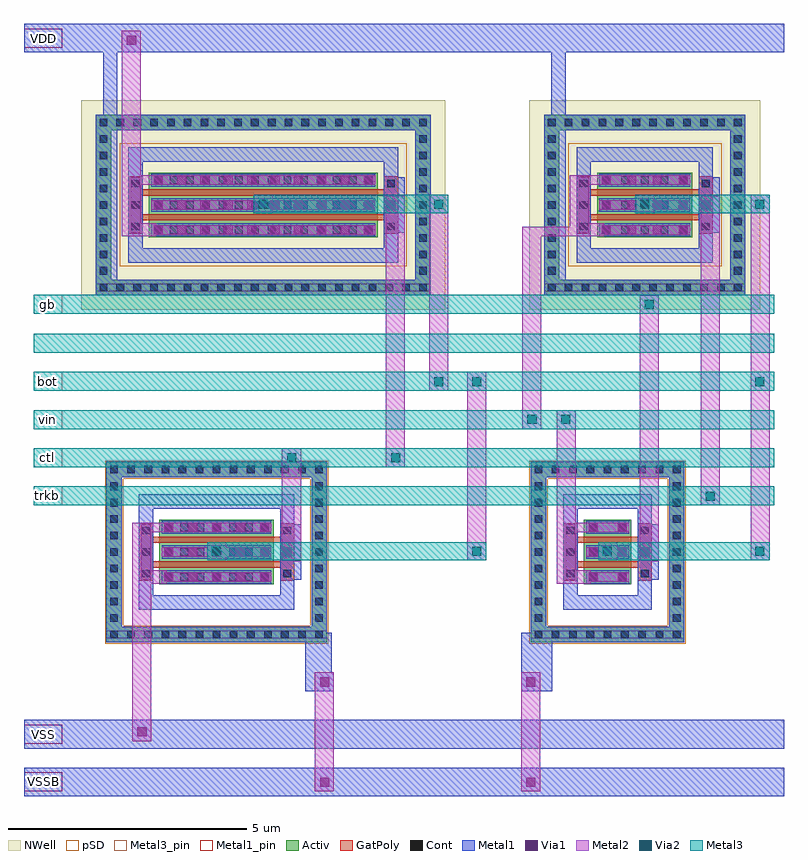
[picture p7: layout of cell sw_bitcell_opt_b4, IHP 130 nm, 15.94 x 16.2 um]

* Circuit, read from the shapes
.subckt sw_bitcell_opt_b4 VDD VSS VSSB bot ctl gb trkb vin
XM1 bot ctl VSS VSSB sg13_lv_nmos w=2.4u l=0.13u m=2
XM2 bot gb vin VSSB sg13_lv_nmos w=1u l=0.13u m=2
XM3 bot ctl VDD VDD sg13_lv_pmos w=4.8u l=0.13u m=2
XM4 bot trkb vin VDD sg13_lv_pmos w=2u l=0.13u m=2
.ends

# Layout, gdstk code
import gdstk
lib = gdstk.Library(unit=1e-6, precision=1e-09)
def R(c, l, rs):  # rectangles x0, y0, x1, y1
    for r in rs: c.add(gdstk.rectangle(r[:2], r[2:], *l))
def A(c, l, x, y, w, h, nx, ny, dx, dy):  # array of equal rectangles
    R(c, l, [(x+i*dx, y+j*dy, x+i*dx+w, y+j*dy+h) for i in range(nx) for j in range(ny)])
def P(c, l, *ps):  # polygons
    for p in ps: c.add(gdstk.Polygon(p, *l))
Activ = (1, 0)
GatPoly = (5, 0)
Cont = (6, 0)
Metal1 = (8, 0)
Metal1_pin = (8, 2)
Metal2 = (10, 0)
pSD = (14, 0)
Via1 = (19, 0)
Via2 = (29, 0)
Metal3 = (30, 0)
Metal3_pin = (30, 2)
NWell = (31, 0)

rfnmos_10 = lib.new_cell('rfnmos$10')
R(rfnmos_10, Activ, [(1.14,1.245,3.54,2.595)])
P(rfnmos_10, Activ, [(0.03,0.03),(0.03,3.49),(0.35,3.49),(0.35,0.35),(4.33,0.35),(4.33,3.49),(0.03,3.49),(0.03,3.81),(4.65,3.81),(4.65,0.03)])
R(rfnmos_10, GatPoly, [(0.71,1.32,1.01,2.52), (3.67,1.32,3.97,2.52), (1.01,1.595,3.67,1.725), (1.01,2.115,3.67,2.245)])
A(rfnmos_10, Cont, 0.465, 0.11, 0.16, 0.16, 3, 2, 0.36, 3.46)
A(rfnmos_10, Cont, 1.54, 0.11, 0.16, 0.16, 3, 2, 0.36, 3.46)
A(rfnmos_10, Cont, 2.615, 0.11, 0.16, 0.16, 3, 2, 0.36, 3.46)
A(rfnmos_10, Cont, 3.69, 0.11, 0.16, 0.16, 3, 2, 0.36, 3.46)
A(rfnmos_10, Cont, 0.11, 0.46, 0.16, 0.16, 1, 9, 0, 0.345)
A(rfnmos_10, Cont, 4.41, 0.46, 0.16, 0.16, 1, 9, 0, 0.345)
A(rfnmos_10, Cont, 1.24, 1.32, 0.16, 0.16, 7, 3, 0.34, 0.52)
A(rfnmos_10, Cont, 0.78, 1.39, 0.16, 0.16, 1, 3, 0, 0.45)
A(rfnmos_10, Cont, 3.74, 1.39, 0.16, 0.16, 1, 3, 0, 0.45)
R(rfnmos_10, Cont, [(0.11,0.11,0.27,0.27), (0.11,3.57,0.27,3.73)])
A(rfnmos_10, Metal1, 1.19, 1.26, 2.3, 0.28, 1, 3, 0, 0.52)
R(rfnmos_10, Metal1, [(0.03,0.03,4.65,0.35), (0.03,0.35,0.35,3.49), (4.33,0.35,4.65,3.49), (0.76,1.34,0.96,2.5), (3.72,1.34,3.92,2.5), (0.03,3.49,4.65,3.81)])
P(rfnmos_10, Metal1, [(0.71,0.71),(0.71,2.83),(1.01,2.83),(1.01,1.01),(3.67,1.01),(3.67,2.83),(0.71,2.83),(0.71,3.13),(3.97,3.13),(3.97,0.71)])
R(rfnmos_10, Metal1_pin, [(0.03,0.11,4.65,0.27), (0.03,0.11,4.65,0.27), (1.19,1.26,3.49,1.54), (1.19,1.26,3.49,1.54), (0.76,1.34,0.96,2.5), (0.76,1.34,0.96,2.5), (1.19,1.78,3.49,2.06), (1.19,1.78,3.49,2.06)])
A(rfnmos_10, Metal2, 1.19, 1.3, 2.3, 0.2, 1, 3, 0, 0.52)
P(rfnmos_10, pSD, [(0,0),(0,3.46),(0.38,3.46),(0.38,0.38),(4.3,0.38),(4.3,3.46),(0,3.46),(0,3.84),(4.68,3.84),(4.68,0)])
A(rfnmos_10, Via1, 1.24, 1.305, 0.19, 0.19, 1, 3, 0, 0.52)
A(rfnmos_10, Via1, 1.74, 1.305, 0.19, 0.19, 1, 3, 0, 0.52)
A(rfnmos_10, Via1, 2.245, 1.305, 0.19, 0.19, 1, 3, 0, 0.52)
A(rfnmos_10, Via1, 2.745, 1.305, 0.19, 0.19, 1, 3, 0, 0.52)
A(rfnmos_10, Via1, 3.25, 1.305, 0.19, 0.19, 1, 3, 0, 0.52)
rfnmos_10.add(gdstk.Label('S', (2.34,1.42), layer=63, texttype=0))
rfnmos_10.add(gdstk.Label('D', (2.34,1.94), layer=63, texttype=0))
rfnmos_10.add(gdstk.Label('G', (0.86,1.92), layer=63, texttype=0))
rfnmos_10.add(gdstk.Label('TIE', (2.34,0.19), layer=63, texttype=0))
rfnmos_10.add(gdstk.Label('rfnmos', (2.34,3.65), layer=63, texttype=0))

rfpmos_9 = lib.new_cell('rfpmos$9')
R(rfpmos_9, Activ, [(1.42,1.525,6.22,2.875)])
P(rfpmos_9, Activ, [(0.31,0.31),(0.31,3.77),(0.63,3.77),(0.63,0.63),(7.01,0.63),(7.01,3.77),(0.31,3.77),(0.31,4.09),(7.33,4.09),(7.33,0.31)])
R(rfpmos_9, GatPoly, [(0.99,1.6,1.29,2.8), (6.35,1.6,6.65,2.8), (1.29,1.875,6.35,2.005), (1.29,2.395,6.35,2.525)])
A(rfpmos_9, Cont, 6.38, 0.39, 0.16, 0.16, 3, 2, 0.355, 3.46)
A(rfpmos_9, Cont, 0.39, 0.74, 0.16, 0.16, 1, 9, 0, 0.345)
A(rfpmos_9, Cont, 7.09, 0.74, 0.16, 0.16, 1, 9, 0, 0.345)
A(rfpmos_9, Cont, 1.52, 1.6, 0.16, 0.16, 4, 3, 0.34, 0.52)
A(rfpmos_9, Cont, 2.885, 1.6, 0.16, 0.16, 3, 3, 0.34, 0.52)
A(rfpmos_9, Cont, 3.91, 1.6, 0.16, 0.16, 3, 3, 0.34, 0.52)
A(rfpmos_9, Cont, 4.935, 1.6, 0.16, 0.16, 3, 3, 0.34, 0.52)
A(rfpmos_9, Cont, 5.96, 1.6, 0.16, 0.16, 1, 3, 0, 0.52)
A(rfpmos_9, Cont, 1.06, 1.67, 0.16, 0.16, 1, 3, 0, 0.45)
A(rfpmos_9, Cont, 6.42, 1.67, 0.16, 0.16, 1, 3, 0, 0.45)
R(rfpmos_9, Cont, [(0.39,0.39,0.55,0.55), (0.74,0.39,0.9,0.55), (1.095,0.39,1.255,0.55), (1.445,0.39,1.605,0.55), (1.8,0.39,1.96,0.55), (2.15,0.39,2.31,0.55), (2.505,0.39,2.665,0.55), (2.855,0.39,3.015,0.55), (3.21,0.39,3.37,0.55), (3.56,0.39,3.72,0.55), (3.915,0.39,4.075,0.55), (4.265,0.39,4.425,0.55), (4.62,0.39,4.78,0.55), (4.97,0.39,5.13,0.55), (5.325,0.39,5.485,0.55), (5.675,0.39,5.835,0.55), (6.03,0.39,6.19,0.55), (0.39,3.85,0.55,4.01), (0.74,3.85,0.9,4.01), (1.095,3.85,1.255,4.01), (1.445,3.85,1.605,4.01), (1.8,3.85,1.96,4.01), (2.15,3.85,2.31,4.01), (2.505,3.85,2.665,4.01), (2.855,3.85,3.015,4.01), (3.21,3.85,3.37,4.01), (3.56,3.85,3.72,4.01), (3.915,3.85,4.075,4.01), (4.265,3.85,4.425,4.01), (4.62,3.85,4.78,4.01), (4.97,3.85,5.13,4.01), (5.325,3.85,5.485,4.01), (5.675,3.85,5.835,4.01), (6.03,3.85,6.19,4.01)])
A(rfpmos_9, Metal1, 1.47, 1.54, 4.7, 0.28, 1, 3, 0, 0.52)
R(rfpmos_9, Metal1, [(0.31,0.31,7.33,0.63), (0.31,0.63,0.63,3.77), (7.01,0.63,7.33,3.77), (1.04,1.62,1.24,2.78), (6.4,1.62,6.6,2.78), (0.31,3.77,7.33,4.09)])
P(rfpmos_9, Metal1, [(0.99,0.99),(0.99,3.11),(1.29,3.11),(1.29,1.29),(6.35,1.29),(6.35,3.11),(0.99,3.11),(0.99,3.41),(6.65,3.41),(6.65,0.99)])
R(rfpmos_9, Metal1_pin, [(0.31,0.39,7.33,0.55), (0.31,0.39,7.33,0.55), (1.47,1.54,6.17,1.82), (1.47,1.54,6.17,1.82), (1.04,1.62,1.24,2.78), (1.04,1.62,1.24,2.78), (1.47,2.06,6.17,2.34), (1.47,2.06,6.17,2.34)])
A(rfpmos_9, Metal2, 1.47, 1.58, 4.7, 0.2, 1, 3, 0, 0.52)
R(rfpmos_9, pSD, [(0.81,0.91,6.83,3.49)])
A(rfpmos_9, Via1, 1.52, 1.585, 0.19, 0.19, 10, 3, 0.49, 0.52)
R(rfpmos_9, NWell, [(0,0,7.64,4.4)])
rfpmos_9.add(gdstk.Label('S', (3.82,1.7), layer=63, texttype=0))
rfpmos_9.add(gdstk.Label('D', (3.82,2.22), layer=63, texttype=0))
rfpmos_9.add(gdstk.Label('G', (1.14,2.2), layer=63, texttype=0))
rfpmos_9.add(gdstk.Label('TIE', (3.82,0.47), layer=63, texttype=0))
rfpmos_9.add(gdstk.Label('rfpmos', (3.82,3.93), layer=63, texttype=0))

rfnmos_1_6 = lib.new_cell('rfnmos$1$6')
R(rfnmos_1_6, Activ, [(1.14,1.245,2.14,2.595)])
P(rfnmos_1_6, Activ, [(0.03,0.03),(0.03,3.49),(0.35,3.49),(0.35,0.35),(2.93,0.35),(2.93,3.49),(0.03,3.49),(0.03,3.81),(3.25,3.81),(3.25,0.03)])
R(rfnmos_1_6, GatPoly, [(0.71,1.32,1.01,2.52), (2.27,1.32,2.57,2.52), (1.01,1.595,2.27,1.725), (1.01,2.115,2.27,2.245)])
A(rfnmos_1_6, Cont, 0.11, 0.46, 0.16, 0.16, 1, 9, 0, 0.345)
A(rfnmos_1_6, Cont, 3.01, 0.46, 0.16, 0.16, 1, 9, 0, 0.345)
A(rfnmos_1_6, Cont, 1.24, 1.32, 0.16, 0.16, 1, 3, 0, 0.52)
A(rfnmos_1_6, Cont, 1.88, 1.32, 0.16, 0.16, 1, 3, 0, 0.52)
A(rfnmos_1_6, Cont, 0.78, 1.39, 0.16, 0.16, 1, 3, 0, 0.45)
A(rfnmos_1_6, Cont, 2.34, 1.39, 0.16, 0.16, 1, 3, 0, 0.45)
R(rfnmos_1_6, Cont, [(0.11,0.11,0.27,0.27), (0.47,0.11,0.63,0.27), (0.835,0.11,0.995,0.27), (1.195,0.11,1.355,0.27), (1.56,0.11,1.72,0.27), (1.92,0.11,2.08,0.27), (2.285,0.11,2.445,0.27), (2.645,0.11,2.805,0.27), (3.01,0.11,3.17,0.27), (0.11,3.57,0.27,3.73), (0.47,3.57,0.63,3.73), (0.835,3.57,0.995,3.73), (1.195,3.57,1.355,3.73), (1.56,3.57,1.72,3.73), (1.92,3.57,2.08,3.73), (2.285,3.57,2.445,3.73), (2.645,3.57,2.805,3.73), (3.01,3.57,3.17,3.73)])
A(rfnmos_1_6, Metal1, 1.19, 1.26, 0.9, 0.28, 1, 3, 0, 0.52)
R(rfnmos_1_6, Metal1, [(0.03,0.03,3.25,0.35), (0.03,0.35,0.35,3.49), (2.93,0.35,3.25,3.49), (0.76,1.34,0.96,2.5), (2.32,1.34,2.52,2.5), (0.03,3.49,3.25,3.81)])
P(rfnmos_1_6, Metal1, [(0.71,0.71),(0.71,2.83),(1.01,2.83),(1.01,1.01),(2.27,1.01),(2.27,2.83),(0.71,2.83),(0.71,3.13),(2.57,3.13),(2.57,0.71)])
R(rfnmos_1_6, Metal1_pin, [(0.03,0.11,3.25,0.27), (0.03,0.11,3.25,0.27), (1.19,1.26,2.09,1.54), (1.19,1.26,2.09,1.54), (0.76,1.34,0.96,2.5), (0.76,1.34,0.96,2.5), (1.19,1.78,2.09,2.06), (1.19,1.78,2.09,2.06)])
A(rfnmos_1_6, Metal2, 1.19, 1.3, 0.9, 0.2, 1, 3, 0, 0.52)
P(rfnmos_1_6, pSD, [(0,0),(0,3.46),(0.38,3.46),(0.38,0.38),(2.9,0.38),(2.9,3.46),(0,3.46),(0,3.84),(3.28,3.84),(3.28,0)])
A(rfnmos_1_6, Via1, 1.24, 1.305, 0.19, 0.19, 1, 3, 0, 0.52)
A(rfnmos_1_6, Via1, 1.85, 1.305, 0.19, 0.19, 1, 3, 0, 0.52)
rfnmos_1_6.add(gdstk.Label('S', (1.64,1.42), layer=63, texttype=0))
rfnmos_1_6.add(gdstk.Label('D', (1.64,1.94), layer=63, texttype=0))
rfnmos_1_6.add(gdstk.Label('G', (0.86,1.92), layer=63, texttype=0))
rfnmos_1_6.add(gdstk.Label('TIE', (1.64,0.19), layer=63, texttype=0))
rfnmos_1_6.add(gdstk.Label('rfnmos', (1.64,3.65), layer=63, texttype=0))

rfpmos_1_6 = lib.new_cell('rfpmos$1$6')
R(rfpmos_1_6, Activ, [(1.42,1.525,3.42,2.875)])
P(rfpmos_1_6, Activ, [(0.31,0.31),(0.31,3.77),(0.63,3.77),(0.63,0.63),(4.21,0.63),(4.21,3.77),(0.31,3.77),(0.31,4.09),(4.53,4.09),(4.53,0.31)])
R(rfpmos_1_6, GatPoly, [(0.99,1.6,1.29,2.8), (3.55,1.6,3.85,2.8), (1.29,1.875,3.55,2.005), (1.29,2.395,3.55,2.525)])
A(rfpmos_1_6, Cont, 0.74, 0.39, 0.16, 0.16, 11, 2, 0.355, 3.46)
A(rfpmos_1_6, Cont, 0.39, 0.74, 0.16, 0.16, 1, 9, 0, 0.345)
A(rfpmos_1_6, Cont, 4.29, 0.74, 0.16, 0.16, 1, 9, 0, 0.345)
A(rfpmos_1_6, Cont, 1.52, 1.6, 0.16, 0.16, 5, 3, 0.41, 0.52)
A(rfpmos_1_6, Cont, 1.06, 1.67, 0.16, 0.16, 1, 3, 0, 0.45)
A(rfpmos_1_6, Cont, 3.62, 1.67, 0.16, 0.16, 1, 3, 0, 0.45)
R(rfpmos_1_6, Cont, [(0.39,0.39,0.55,0.55), (0.39,3.85,0.55,4.01)])
A(rfpmos_1_6, Metal1, 1.47, 1.54, 1.9, 0.28, 1, 3, 0, 0.52)
R(rfpmos_1_6, Metal1, [(0.31,0.31,4.53,0.63), (0.31,0.63,0.63,3.77), (4.21,0.63,4.53,3.77), (1.04,1.62,1.24,2.78), (3.6,1.62,3.8,2.78), (0.31,3.77,4.53,4.09)])
P(rfpmos_1_6, Metal1, [(0.99,0.99),(0.99,3.11),(1.29,3.11),(1.29,1.29),(3.55,1.29),(3.55,3.11),(0.99,3.11),(0.99,3.41),(3.85,3.41),(3.85,0.99)])
R(rfpmos_1_6, Metal1_pin, [(0.31,0.39,4.53,0.55), (0.31,0.39,4.53,0.55), (1.47,1.54,3.37,1.82), (1.47,1.54,3.37,1.82), (1.04,1.62,1.24,2.78), (1.04,1.62,1.24,2.78), (1.47,2.06,3.37,2.34), (1.47,2.06,3.37,2.34)])
A(rfpmos_1_6, Metal2, 1.47, 1.58, 1.9, 0.2, 1, 3, 0, 0.52)
R(rfpmos_1_6, pSD, [(0.81,0.91,4.03,3.49)])
A(rfpmos_1_6, Via1, 1.52, 1.585, 0.19, 0.19, 3, 3, 0.535, 0.52)
A(rfpmos_1_6, Via1, 3.13, 1.585, 0.19, 0.19, 1, 3, 0, 0.52)
R(rfpmos_1_6, NWell, [(0,0,4.84,4.4)])
rfpmos_1_6.add(gdstk.Label('S', (2.42,1.7), layer=63, texttype=0))
rfpmos_1_6.add(gdstk.Label('D', (2.42,2.22), layer=63, texttype=0))
rfpmos_1_6.add(gdstk.Label('G', (1.14,2.2), layer=63, texttype=0))
rfpmos_1_6.add(gdstk.Label('TIE', (2.42,0.47), layer=63, texttype=0))
rfpmos_1_6.add(gdstk.Label('rfpmos', (2.42,3.93), layer=63, texttype=0))

sw_bitcell_opt_b4 = lib.new_cell('sw_bitcell_opt_b4')
R(sw_bitcell_opt_b4, Metal1, [(-1.2,-3.2,14.74,-2.6), (4.9,-3.1,5.3,-2.7), (9.23,-3.1,9.63,-2.7), (-1.2,-2.2,14.74,-1.6), (1.07,-2.05,1.47,-1.65), (4.7,-1,5.25,0.23), (4.9,-1,5.3,-0.6), (9.23,-1,9.63,-0.6), (9.23,-1,9.88,0.23), (4.21,1.34,4.61,2.5), (11.71,1.34,12.11,2.5), (0.46,7.44,0.76,12.4), (9.86,7.44,10.16,12.4), (6.39,8.62,6.79,9.78), (12.99,8.62,13.39,9.78), (-1.2,12.4,14.74,13), (0.85,12.45,1.25,12.85)])
R(sw_bitcell_opt_b4, Metal1_pin, [(-1.2,-3.1,-0.4,-2.7), (-1.2,-2.1,-0.4,-1.7), (-1.2,12.5,-0.4,12.9)])
R(sw_bitcell_opt_b4, Metal2, [(4.9,-3.1,5.3,-2.7), (9.23,-3.1,9.63,-2.7), (4.9,-2.9,5.3,-0.8), (9.23,-2.9,9.63,-0.8), (1.07,-2.05,1.47,-1.65), (1.07,-1.9,1.47,1.46), (4.9,-1,5.3,-0.6), (9.23,-1,9.63,-0.6), (1.07,1.26,1.79,1.54), (1.07,1.26,1.47,2.54), (9.97,1.26,10.69,1.54), (9.97,1.26,10.37,2.54), (4.21,1.73,4.61,2.11), (11.71,1.73,12.11,2.11), (2.64,1.75,3.04,2.13), (8.1,1.75,8.5,2.13), (10.84,1.75,11.24,2.13), (14.04,1.75,14.44,2.13), (4.21,1.92,4.61,3.9), (11.71,1.92,12.11,7.12), (8.1,1.94,8.5,5.5), (14.04,1.94,14.44,5.5), (1.07,2.34,1.79,2.54), (9.97,2.34,10.69,2.54), (9.97,2.4,10.37,4.9), (12.99,2.9,13.39,3.3), (12.99,3.1,13.39,9.2), (4.21,3.7,4.61,4.1), (6.39,3.7,6.79,4.1), (6.39,3.9,6.79,9.2), (9.25,4.5,9.65,4.9), (9.25,4.5,9.65,8.74), (9.97,4.5,10.37,4.9), (7.3,5.3,7.7,5.7), (8.1,5.3,8.5,5.7), (14.04,5.3,14.44,5.7), (14.04,5.3,14.44,5.7), (7.3,5.5,7.7,9.22), (14.04,5.5,14.44,9.22), (11.71,6.93,12.11,7.31), (0.85,8.54,1.57,8.82), (0.85,8.54,1.25,9.82), (9.25,8.54,10.65,8.74), (10.25,8.54,10.97,8.82), (10.25,8.54,10.65,9.82), (6.39,9.01,6.79,9.39), (12.99,9.01,13.39,9.39), (3.62,9.03,4.02,9.41), (7.3,9.03,7.7,9.41), (11.62,9.03,12.02,9.41), (14.04,9.03,14.44,9.41), (0.85,9.62,1.57,9.82), (0.85,9.62,1.25,12.7), (10.25,9.62,10.97,9.82), (0.85,12.45,1.25,12.85)])
R(sw_bitcell_opt_b4, Via1, [(5.01,-3,5.2,-2.81), (9.33,-3,9.52,-2.81), (1.18,-1.94,1.37,-1.75), (5.01,-0.9,5.2,-0.71), (9.33,-0.9,9.52,-0.71), (4.23,1.82,4.42,2.01), (11.72,1.82,11.91,2.01), (6.4,9.1,6.59,9.29), (13,9.1,13.19,9.29), (0.96,12.56,1.15,12.75)])
R(sw_bitcell_opt_b4, Via2, [(2.74,1.84,2.93,2.03), (8.2,1.84,8.39,2.03), (10.94,1.84,11.13,2.03), (14.14,1.84,14.33,2.03), (13.1,3,13.29,3.19), (4.32,3.8,4.51,3.99), (6.5,3.8,6.69,3.99), (9.36,4.61,9.55,4.8), (10.07,4.61,10.26,4.8), (7.4,5.4,7.59,5.59), (8.2,5.4,8.39,5.59), (14.14,5.4,14.33,5.59), (14.14,5.4,14.33,5.59), (11.82,7.02,12.01,7.21), (3.72,9.12,3.91,9.31), (7.4,9.12,7.59,9.31), (11.72,9.12,11.91,9.31), (14.14,9.12,14.33,9.31)])
A(sw_bitcell_opt_b4, Metal3, -1, 2.9, 15.54, 0.4, 1, 5, 0, 0.8)
R(sw_bitcell_opt_b4, Metal3, [(2.64,1.75,8.5,2.13), (2.64,1.75,3.04,2.13), (8.1,1.75,8.5,2.13), (10.84,1.75,11.24,2.13), (10.84,1.75,14.44,2.13), (14.04,1.75,14.44,2.13), (12.99,2.9,13.39,3.3), (4.21,3.7,4.61,4.1), (6.39,3.7,6.79,4.1), (9.25,4.5,9.65,4.9), (9.97,4.5,10.37,4.9), (7.3,5.3,7.7,5.7), (8.1,5.3,8.5,5.7), (14.04,5.3,14.44,5.7), (14.04,5.3,14.44,5.7), (-1,6.92,14.54,7.32), (11.71,6.93,12.11,7.31), (3.62,9.03,4.02,9.41), (3.62,9.03,7.7,9.41), (7.3,9.03,7.7,9.41), (11.62,9.03,12.02,9.41), (11.62,9.03,14.44,9.41), (14.04,9.03,14.44,9.41)])
A(sw_bitcell_opt_b4, Metal3_pin, -1, 2.9, 0.6, 0.4, 1, 4, 0, 0.8)
R(sw_bitcell_opt_b4, Metal3_pin, [(-1,6.92,-0.4,7.32)])
sw_bitcell_opt_b4.add(gdstk.Reference(rfnmos_10, (0.5,0)))
sw_bitcell_opt_b4.add(gdstk.Reference(rfpmos_9, (0,7)))
sw_bitcell_opt_b4.add(gdstk.Reference(rfnmos_1_6, (9.4,0)))
sw_bitcell_opt_b4.add(gdstk.Reference(rfpmos_1_6, (9.4,7)))
sw_bitcell_opt_b4.add(gdstk.Label('VSS', (-0.8,-1.9), layer=8, texttype=25))
sw_bitcell_opt_b4.add(gdstk.Label('VSSB', (-0.8,-2.9), layer=8, texttype=25))
sw_bitcell_opt_b4.add(gdstk.Label('VDD', (-0.8,12.7), layer=8, texttype=25))
sw_bitcell_opt_b4.add(gdstk.Label('bot', (-0.7,5.5), layer=30, texttype=25))
sw_bitcell_opt_b4.add(gdstk.Label('vin', (-0.7,4.7), layer=30, texttype=25))
sw_bitcell_opt_b4.add(gdstk.Label('ctl', (-0.7,3.9), layer=30, texttype=25))
sw_bitcell_opt_b4.add(gdstk.Label('trkb', (-0.7,3.1), layer=30, texttype=25))
sw_bitcell_opt_b4.add(gdstk.Label('gb', (-0.7,7.12), layer=30, texttype=25))

lib.write_gds('sw_bitcell_opt_b4.gds')
